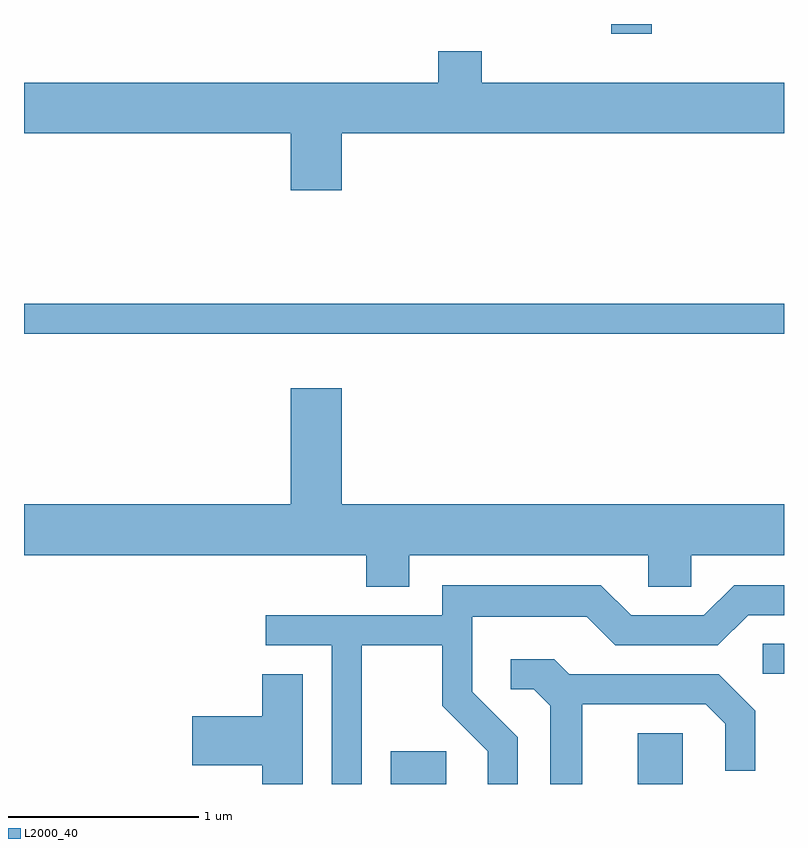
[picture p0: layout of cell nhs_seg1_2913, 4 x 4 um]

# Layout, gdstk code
import gdstk
lib = gdstk.Library(unit=1e-6, precision=1e-09)
def R(c, l, rs):  # rectangles x0, y0, x1, y1
    for r in rs: c.add(gdstk.rectangle(r[:2], r[2:], *l))
def P(c, l, *ps):  # polygons
    for p in ps: c.add(gdstk.Polygon(p, *l))
L2000_40 = (2000, 40)

nhs_seg1_2913 = lib.new_cell('nhs_seg1_2913')
R(nhs_seg1_2913, L2000_40, [(275.541,891.712,275.834,891.884), (276.841,891.712,277.079,891.979), (277.498,892.291,277.611,892.449), (273.611,894.081,277.611,894.239), (276.701,895.661,276.914,895.712)])
P(nhs_seg1_2913, L2000_40, [(275.284,895.136),(277.611,895.136),(277.611,895.404),(276.019,895.404),(276.019,895.569),(275.791,895.569),(275.791,895.404),(273.611,895.404),(273.611,895.136),(275.016,895.136),(275.016,894.836),(275.284,894.836)],
  [(275.639,892.916),(276.896,892.916),(276.896,892.751),(277.124,892.751),(277.124,892.916),(277.611,892.916),(277.611,893.184),(275.284,893.184),(275.284,893.794),(275.016,893.794),(275.016,893.184),(273.611,893.184),(273.611,892.916),(275.411,892.916),(275.411,892.751),(275.639,892.751)],
  [(275.389,892.441),(275.811,892.441),(275.811,892.124),(276.051,891.884),(276.051,891.712),(276.209,891.712),(276.209,891.957),(275.969,892.197),(275.969,892.591),(276.574,892.591),(276.724,892.441),(277.262,892.441),(277.422,892.601),(277.611,892.601),(277.611,892.759),(277.349,892.759),(277.189,892.599),(276.807,892.599),(276.647,892.759),(275.811,892.759),(275.811,892.599),(274.883,892.599),(274.883,892.441),(275.231,892.441),(275.231,891.712),(275.389,891.712)],
  [(276.549,892.131),(277.199,892.131),(277.301,892.029),(277.301,891.783),(277.459,891.783),(277.459,892.097),(277.267,892.289),(276.482,892.289),(276.402,892.369),(276.173,892.369),(276.173,892.211),(276.294,892.211),(276.381,892.124),(276.381,891.712),(276.549,891.712)],
  [(275.079,892.289),(274.866,892.289),(274.866,892.069),(274.496,892.069),(274.496,891.811),(274.866,891.811),(274.866,891.712),(275.079,891.712)])

lib.write_gds('nhs_seg1_2913.gds')
